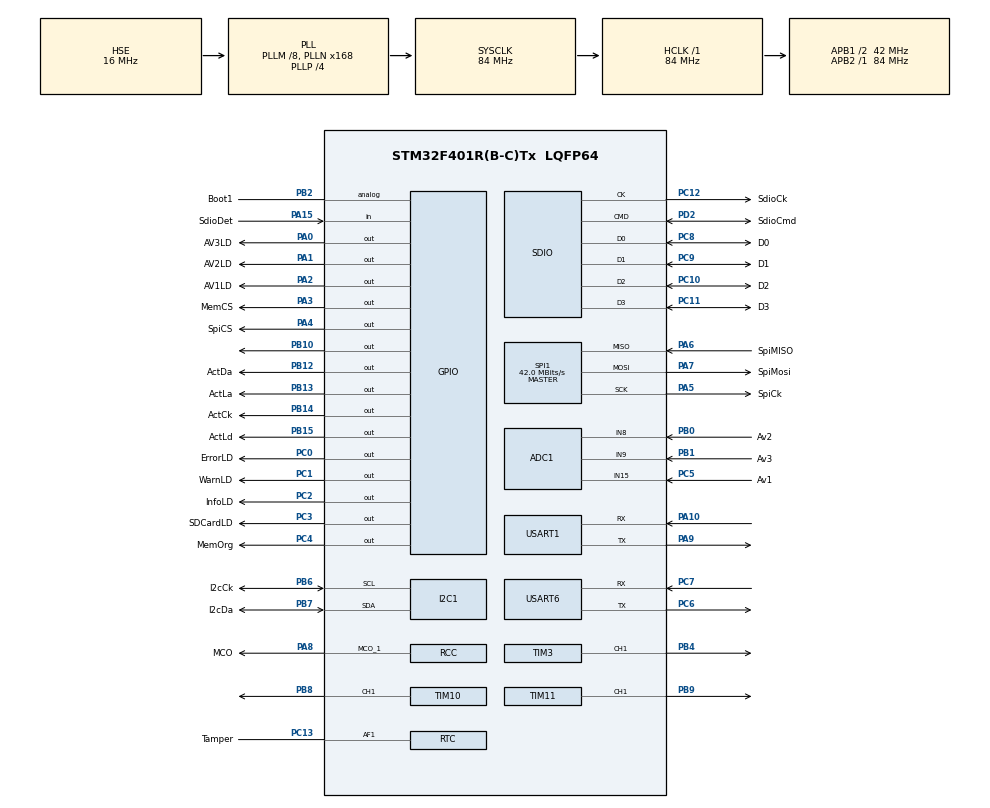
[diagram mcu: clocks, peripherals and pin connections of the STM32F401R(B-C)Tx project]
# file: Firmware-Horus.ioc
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ADC1.Channel-0\#ChannelRegularConversion=ADC_CHANNEL_15
ADC1.Channel-1\#ChannelRegularConversion=ADC_CHANNEL_8
ADC1.Channel-2\#ChannelRegularConversion=ADC_CHANNEL_9
ADC1.Channel-3\#ChannelRegularConversion=ADC_CHANNEL_TEMPSENSOR
ADC1.ClockPrescaler=ADC_CLOCK_SYNC_PCLK_DIV8
ADC1.ContinuousConvMode=ENABLE
ADC1.DMAContinuousRequests=ENABLE
ADC1.InjNumberOfConversion=0
ADC1.NbrOfConversion=4
ADC1.NbrOfConversionFlag=1
ADC1.Rank-0\#ChannelRegularConversion=1
ADC1.Rank-1\#ChannelRegularConversion=2
ADC1.Rank-2\#ChannelRegularConversion=3
ADC1.Rank-3\#ChannelRegularConversion=4
ADC1.SamplingTime-0\#ChannelRegularConversion=ADC_SAMPLETIME_3CYCLES
ADC1.SamplingTime-1\#ChannelRegularConversion=ADC_SAMPLETIME_3CYCLES
ADC1.SamplingTime-2\#ChannelRegularConversion=ADC_SAMPLETIME_3CYCLES
ADC1.SamplingTime-3\#ChannelRegularConversion=ADC_SAMPLETIME_480CYCLES
ADC1.master=1
Dma.ADC1.2.Direction=DMA_PERIPH_TO_MEMORY
Dma.ADC1.2.FIFOMode=DMA_FIFOMODE_DISABLE
Dma.ADC1.2.Instance=DMA2_Stream0
Dma.ADC1.2.MemDataAlignment=DMA_MDATAALIGN_HALFWORD
Dma.ADC1.2.MemInc=DMA_MINC_ENABLE
Dma.ADC1.2.Mode=DMA_CIRCULAR
Dma.ADC1.2.PeriphDataAlignment=DMA_PDATAALIGN_HALFWORD
Dma.ADC1.2.PeriphInc=DMA_PINC_DISABLE
Dma.ADC1.2.Priority=DMA_PRIORITY_LOW
Dma.Request0=SDIO_RX
Dma.Request1=SDIO_TX
Dma.Request2=ADC1
Dma.SDIO_RX.0.Direction=DMA_PERIPH_TO_MEMORY
Dma.SDIO_RX.0.FIFOMode=DMA_FIFOMODE_ENABLE
Dma.SDIO_RX.0.FIFOThreshold=DMA_FIFO_THRESHOLD_FULL
Dma.SDIO_RX.0.Instance=DMA2_Stream3
Dma.SDIO_RX.0.MemBurst=DMA_MBURST_INC4
Dma.SDIO_RX.0.MemDataAlignment=DMA_MDATAALIGN_WORD
Dma.SDIO_RX.0.MemInc=DMA_MINC_ENABLE
Dma.SDIO_RX.0.Mode=DMA_PFCTRL
Dma.SDIO_RX.0.PeriphBurst=DMA_PBURST_INC4
Dma.SDIO_RX.0.PeriphDataAlignment=DMA_PDATAALIGN_WORD
Dma.SDIO_RX.0.PeriphInc=DMA_PINC_DISABLE
Dma.SDIO_RX.0.Priority=DMA_PRIORITY_LOW
Dma.SDIO_TX.1.Direction=DMA_MEMORY_TO_PERIPH
Dma.SDIO_TX.1.FIFOMode=DMA_FIFOMODE_ENABLE
Dma.SDIO_TX.1.FIFOThreshold=DMA_FIFO_THRESHOLD_FULL
Dma.SDIO_TX.1.Instance=DMA2_Stream6
Dma.SDIO_TX.1.MemBurst=DMA_MBURST_INC4
Dma.SDIO_TX.1.MemDataAlignment=DMA_MDATAALIGN_WORD
Dma.SDIO_TX.1.MemInc=DMA_MINC_ENABLE
Dma.SDIO_TX.1.Mode=DMA_PFCTRL
Dma.SDIO_TX.1.PeriphBurst=DMA_PBURST_INC4
Dma.SDIO_TX.1.PeriphDataAlignment=DMA_PDATAALIGN_WORD
Dma.SDIO_TX.1.PeriphInc=DMA_PINC_DISABLE
Dma.SDIO_TX.1.Priority=DMA_PRIORITY_LOW
FATFS.BSP.number=1
FATFS.USE_DMA_CODE_SD=1
FATFS._MAX_SS=4096
FATFS._USE_LFN=1
FATFS0.BSP.STBoard=false
FATFS0.BSP.api=Unknown
FATFS0.BSP.instance=PA15
FATFS0.BSP.ip=GPIO
FATFS0.BSP.mode=Input
FATFS0.BSP.name=Detect_SDIO
FATFS0.BSP.solution=PA15
Mcu.Family=STM32F4
Mcu.Name=STM32F401R(B-C)Tx
Mcu.Package=LQFP64
NVIC.ADC_IRQn=true\:0\:0\:false\:false\:true\:true\:true\:true
NVIC.DMA2_Stream0_IRQn=true\:0\:0\:false\:false\:true\:false\:true\:true
NVIC.DMA2_Stream3_IRQn=true\:0\:0\:false\:false\:true\:false\:true\:true
NVIC.DMA2_Stream6_IRQn=true\:0\:0\:false\:false\:true\:false\:true\:true
NVIC.PriorityGroup=NVIC_PRIORITYGROUP_4
NVIC.SDIO_IRQn=true\:0\:0\:false\:false\:true\:true\:true\:true
NVIC.SPI1_IRQn=true\:0\:0\:false\:false\:true\:true\:true\:true
NVIC.TIM1_TRG_COM_TIM11_IRQn=true\:0\:0\:false\:false\:true\:true\:true\:true
NVIC.TIM1_UP_TIM10_IRQn=true\:0\:0\:false\:false\:true\:true\:true\:true
NVIC.TIM3_IRQn=true\:0\:0\:false\:false\:true\:true\:true\:true
NVIC.USART1_IRQn=true\:0\:0\:false\:false\:true\:true\:true\:true
NVIC.USART6_IRQn=true\:0\:0\:false\:false\:true\:true\:true\:true
PA0-WKUP.GPIO_Label=AV3LD
PA0-WKUP.Signal=GPIO_Output
PA1.GPIO_Label=AV2LD
PA1.Signal=GPIO_Output
PA10.Mode=Asynchronous
PA10.Signal=USART1_RX
PA11.GPIO_Label=UsbM
PA11.Signal=USB_OTG_FS_DM
PA12.GPIO_Label=UsbP
PA12.Signal=USB_OTG_FS_DP
PA13.GPIO_Label=SWDio
PA13.Mode=Trace_Asynchronous_SW
PA13.Signal=SYS_JTMS-SWDIO
PA14.GPIO_Label=SWSck
PA14.Mode=Trace_Asynchronous_SW
PA14.Signal=SYS_JTCK-SWCLK
PA15.GPIO_Label=SdioDet
PA15.Signal=GPIO_Input
PA2.GPIO_Label=AV1LD
PA2.Signal=GPIO_Output
PA3.GPIO_Label=MemCS
PA3.Signal=GPIO_Output
PA4.GPIO_Label=SpiCS
PA4.Signal=GPIO_Output
PA5.GPIO_Label=SpiCk
PA5.Mode=Full_Duplex_Master
PA5.Signal=SPI1_SCK
PA6.GPIO_Label=SpiMISO
PA6.Mode=Full_Duplex_Master
PA6.Signal=SPI1_MISO
PA7.GPIO_Label=SpiMosi
PA7.Mode=Full_Duplex_Master
PA7.Signal=SPI1_MOSI
PA8.GPIO_Label=MCO
PA8.Mode=Clock-out-1
PA8.Signal=RCC_MCO_1
PA9.Mode=Asynchronous
PA9.Signal=USART1_TX
PB0.GPIO_Label=Av2
PB0.Signal=ADCx_IN8
PB1.GPIO_Label=Av3
PB1.Signal=ADCx_IN9
PB10.Signal=GPIO_Output
PB12.GPIO_Label=ActDa
PB12.Signal=GPIO_Output
PB13.GPIO_Label=ActLa
PB13.Signal=GPIO_Output
PB14.GPIO_Label=ActCk
PB14.Signal=GPIO_Output
PB15.GPIO_Label=ActLd
PB15.Signal=GPIO_Output
PB2.GPIO_Label=Boot1
PB2.Signal=GPIO_Analog
PB3.GPIO_Label=SWO
PB3.Mode=Trace_Asynchronous_SW
PB3.Signal=SYS_JTDO-SWO
PB4.Signal=S_TIM3_CH1
PB5.GPIO_Label=Evt
PB5.Signal=EVENTOUT
PB6.GPIO_Label=I2cCk
PB6.Mode=I2C
PB6.Signal=I2C1_SCL
PB7.GPIO_Label=I2cDa
PB7.Mode=I2C
PB7.Signal=I2C1_SDA
PB8.Signal=S_TIM10_CH1
PB9.Signal=S_TIM11_CH1
PC0.GPIO_Label=ErrorLD
PC0.Signal=GPIO_Output
PC1.GPIO_Label=WarnLD
PC1.Signal=GPIO_Output
PC10.GPIO_Label=D2
PC10.Mode=SD_4_bits_Wide_bus
PC10.Signal=SDIO_D2
PC11.GPIO_Label=D3
PC11.Mode=SD_4_bits_Wide_bus
PC11.Signal=SDIO_D3
PC12.GPIO_Label=SdioCk
PC12.Mode=SD_4_bits_Wide_bus
PC12.Signal=SDIO_CK
PC13-ANTI_TAMP.GPIO_Label=Tamper
PC13-ANTI_TAMP.Mode=Tamper 1 enabled - Input Enabled to AF1
PC13-ANTI_TAMP.Signal=RTC_AF1
PC14-OSC32_IN.GPIO_Label=LseIn
PC14-OSC32_IN.Mode=LSE-External-Oscillator
PC14-OSC32_IN.Signal=RCC_OSC32_IN
PC15-OSC32_OUT.GPIO_Label=LseOut
PC15-OSC32_OUT.Mode=LSE-External-Oscillator
PC15-OSC32_OUT.Signal=RCC_OSC32_OUT
PC2.GPIO_Label=InfoLD
PC2.Signal=GPIO_Output
PC3.GPIO_Label=SDCardLD
PC3.Signal=GPIO_Output
PC4.GPIO_Label=MemOrg
PC4.Signal=GPIO_Output
PC5.GPIO_Label=Av1
PC5.Signal=ADCx_IN15
PC6.Mode=Asynchronous
PC6.Signal=USART6_TX
PC7.Mode=Asynchronous
PC7.Signal=USART6_RX
PC8.GPIO_Label=D0
PC8.Mode=SD_4_bits_Wide_bus
PC8.Signal=SDIO_D0
PC9.GPIO_Label=D1
PC9.Mode=SD_4_bits_Wide_bus
PC9.Signal=SDIO_D1
PD2.GPIO_Label=SdioCmd
PD2.Mode=SD_4_bits_Wide_bus
PD2.Signal=SDIO_CMD
PH0\ -\ OSC_IN.GPIO_Label=HseIn
PH0\ -\ OSC_IN.Mode=HSE-External-Oscillator
PH0\ -\ OSC_IN.Signal=RCC_OSC_IN
PH1\ -\ OSC_OUT.GPIO_Label=HseOut
PH1\ -\ OSC_OUT.Mode=HSE-External-Oscillator
PH1\ -\ OSC_OUT.Signal=RCC_OSC_OUT
ProjectManager.HeapSize=0x800
ProjectManager.StackSize=0xf00
ProjectManager.TargetToolchain=STM32CubeIDE
RCC.48MHZClocksFreq_Value=48000000
RCC.AHBFreq_Value=84000000
RCC.APB1CLKDivider=RCC_HCLK_DIV2
RCC.APB1Freq_Value=42000000
RCC.APB1TimFreq_Value=84000000
RCC.APB2Freq_Value=84000000
RCC.APB2TimFreq_Value=84000000
RCC.CortexFreq_Value=84000000
RCC.HCLKFreq_Value=84000000
RCC.HSE_VALUE=16000000
RCC.HSI_VALUE=16000000
RCC.PLLM=8
RCC.PLLN=168
RCC.PLLP=RCC_PLLP_DIV4
RCC.PLLQ=7
RCC.PLLSourceVirtual=RCC_PLLSOURCE_HSE
RCC.RCC_MCO1Source=RCC_MCO1SOURCE_HSE
RCC.RCC_RTC_Clock_Source=RCC_RTCCLKSOURCE_LSE
RCC.RCC_RTC_Clock_SourceVirtual=RCC_RTCCLKSOURCE_LSE
RCC.SYSCLKFreq_VALUE=84000000
RCC.SYSCLKSource=RCC_SYSCLKSOURCE_PLLCLK
RCC.VCOOutputFreq_Value=336000000
RTC.PinSelection_1=RTC_TAMPERPIN_DEFAULT
SH.ADCx_IN15.0=ADC1_IN15,IN15
SH.ADCx_IN8.0=ADC1_IN8,IN8
SH.ADCx_IN9.0=ADC1_IN9,IN9
SH.S_TIM10_CH1.0=TIM10_CH1,PWM Generation1 CH1
SH.S_TIM11_CH1.0=TIM11_CH1,PWM Generation1 CH1
SH.S_TIM3_CH1.0=TIM3_CH1,PWM Generation1 CH1
SPI1.BaudRatePrescaler=SPI_BAUDRATEPRESCALER_2
SPI1.CalculateBaudRate=42.0 MBits/s
SPI1.Direction=SPI_DIRECTION_2LINES
SPI1.Mode=SPI_MODE_MASTER
SPI1.VirtualType=VM_MASTER
TIM10.Channel=TIM_CHANNEL_1
TIM11.Channel=TIM_CHANNEL_1
TIM3.Channel-PWM\ Generation1\ CH1=TIM_CHANNEL_1
USART1.VirtualMode=VM_ASYNC
USART6.VirtualMode=VM_ASYNC
VP_ADC1_TempSens_Input.Mode=IN-TempSens
VP_FATFS_VS_SDIO.Mode=SDIO
VP_RTC_VS_RTC_Activate.Mode=RTC_Enabled
VP_RTC_VS_RTC_Calendar.Mode=RTC_Calendar
VP_TIM10_VS_ClockSourceINT.Mode=Enable_Timer
VP_TIM11_VS_ClockSourceINT.Mode=Enable_Timer
VP_TIM3_VS_ClockSourceINT.Mode=Internal
board=custom

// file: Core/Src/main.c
/* USER CODE BEGIN Header */
/**
  ******************************************************************************
  * @file           : main.c
  * @brief          : Main program body
  ******************************************************************************
  * @attention
  *
  * Copyright (c) 2024 STMicroelectronics.
  * All rights reserved.
  *
  * This software is licensed under terms that can be found in the LICENSE file
  * in the root directory of this software component.
  * If no LICENSE file comes with this software, it is provided AS-IS.
  *
  ******************************************************************************
  */
/* USER CODE END Header */
#include "main.h"
#include "adc.h"
#include "dma.h"
#include "fatfs.h"
#include "i2c.h"
#include "rtc.h"
#include "sdio.h"
#include "spi.h"
#include "tim.h"
#include "usart.h"
#include "gpio.h"

/* USER CODE BEGIN Includes */
#include "vexuf_globals.h"
#include "actuators.h"
#include "stdio.h"
/* USER CODE END Includes */

void SystemClock_Config(void);

/* USER CODE BEGIN 0 */
int _write(int file, char *ptr, int len) {
	for (int i=0; i < len; i++) {
		ITM_SendChar(*ptr++);
	}
	return len;
}
/* USER CODE END 0 */

int main(void)
{

  /* MCU Configuration--------------------------------------------------------*/

  /* Reset of all peripherals, Initializes the Flash interface and the Systick. */
  HAL_Init();

  /* Configure the system clock */
  SystemClock_Config();

  /* Initialize all configured peripherals */
  MX_GPIO_Init();
  MX_DMA_Init();
  MX_I2C1_Init();
  MX_RTC_Init();
  MX_SDIO_SD_Init();
  MX_SPI1_Init();
  MX_USART1_UART_Init();
  MX_USART6_UART_Init();
  MX_FATFS_Init();
  MX_ADC1_Init();
  MX_TIM3_Init();
  MX_TIM10_Init();
  MX_TIM11_Init();
  /* USER CODE BEGIN 2 */
  HAL_GPIO_WritePin(ActLd_GPIO_Port, ActLd_Pin, GPIO_PIN_SET);

  HAL_ADC_Start_DMA(&hadc1, avs, 4);

//  HAL_ADC_GetValue(&hadc1);/
  uint8_t counter = 0;

  printf("hello %d\r\n", counter);
 		  HAL_Delay(1000);
 		  counter++;
  /* USER CODE END 2 */

  /* Infinite loop */
  /* USER CODE BEGIN WHILE */
  while (1)
  {
//	  for(ActuatorPin pin = ACT_PIN_A1; pin <= ACT_PIN_A8; pin++) {
//		  Actuators_SetPin(pin);
//		  HAL_Delay(100);
//		  Actuators_ResetPin(pin);
//		  HAL_Delay(100);
//
//
//
//
//
//	  }

	printf("value of av1: %i\r\n", avs[0]);
	printf("value of av2: %i\r\n", avs[1]);
	printf("value of av3: %i\r\n", avs[2]);
	printf("value of cpu_temp: %i\r\n", avs[3]);
	printf("temp of cpu: %f\r\n", get_cpu_temp(avs[3]));

	HAL_Delay(1000);
    /* USER CODE END WHILE */

  }
}

void SystemClock_Config(void)
{
  RCC_OscInitTypeDef RCC_OscInitStruct = {0};
  RCC_ClkInitTypeDef RCC_ClkInitStruct = {0};

  /** Configure the main internal regulator output voltage
  */
  __HAL_RCC_PWR_CLK_ENABLE();
  __HAL_PWR_VOLTAGESCALING_CONFIG(PWR_REGULATOR_VOLTAGE_SCALE2);

  /** Initializes the RCC Oscillators according to the specified parameters
  * in the RCC_OscInitTypeDef structure.
  */
  RCC_OscInitStruct.OscillatorType = RCC_OSCILLATORTYPE_HSE|RCC_OSCILLATORTYPE_LSE;
  RCC_OscInitStruct.HSEState = RCC_HSE_ON;
  RCC_OscInitStruct.LSEState = RCC_LSE_ON;
  RCC_OscInitStruct.PLL.PLLState = RCC_PLL_ON;
  RCC_OscInitStruct.PLL.PLLSource = RCC_PLLSOURCE_HSE;
  RCC_OscInitStruct.PLL.PLLM = 8;
  RCC_OscInitStruct.PLL.PLLN = 168;
  RCC_OscInitStruct.PLL.PLLP = RCC_PLLP_DIV4;
  RCC_OscInitStruct.PLL.PLLQ = 7;
  if (HAL_RCC_OscConfig(&RCC_OscInitStruct) != HAL_OK)
  {
    Error_Handler();
  }

  /** Initializes the CPU, AHB and APB buses clocks
  */
  RCC_ClkInitStruct.ClockType = RCC_CLOCKTYPE_HCLK|RCC_CLOCKTYPE_SYSCLK
                              |RCC_CLOCKTYPE_PCLK1|RCC_CLOCKTYPE_PCLK2;
  RCC_ClkInitStruct.SYSCLKSource = RCC_SYSCLKSOURCE_PLLCLK;
  RCC_ClkInitStruct.AHBCLKDivider = RCC_SYSCLK_DIV1;
  RCC_ClkInitStruct.APB1CLKDivider = RCC_HCLK_DIV2;
  RCC_ClkInitStruct.APB2CLKDivider = RCC_HCLK_DIV1;

  if (HAL_RCC_ClockConfig(&RCC_ClkInitStruct, FLASH_LATENCY_2) != HAL_OK)
  {
    Error_Handler();
  }
  HAL_RCC_MCOConfig(RCC_MCO1, RCC_MCO1SOURCE_HSE, RCC_MCODIV_1);
}

void Error_Handler(void)
{
  __disable_irq();
  while (1)
  {
  }
}
